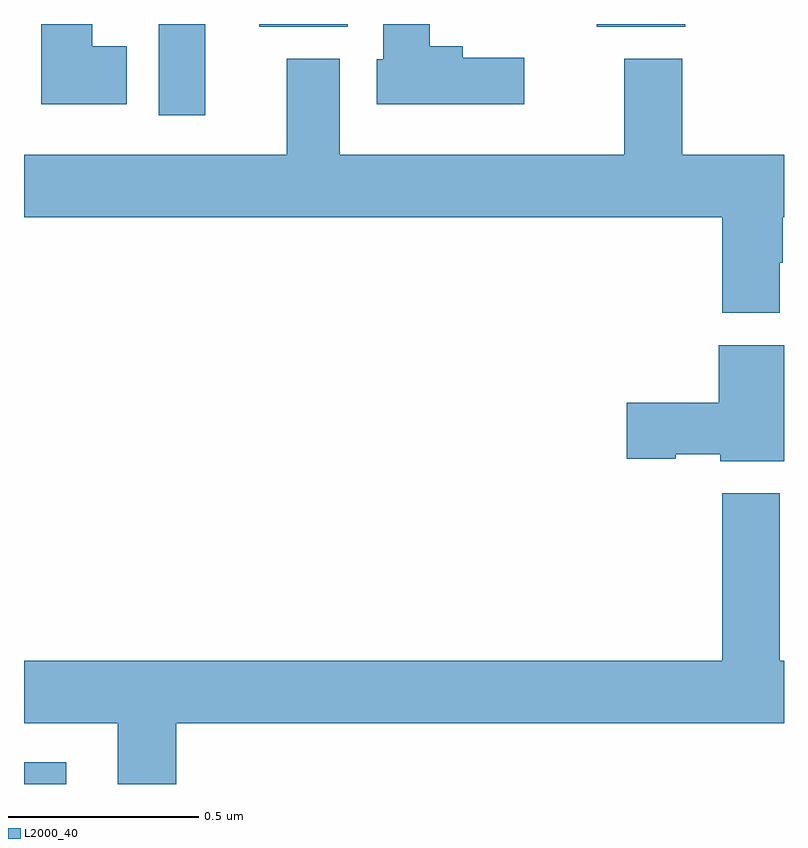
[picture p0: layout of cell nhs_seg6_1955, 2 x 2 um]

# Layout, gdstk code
import gdstk
lib = gdstk.Library(unit=1e-6, precision=1e-09)
def R(c, l, rs):  # rectangles x0, y0, x1, y1
    for r in rs: c.add(gdstk.rectangle(r[:2], r[2:], *l))
def P(c, l, *ps):  # polygons
    for p in ps: c.add(gdstk.Polygon(p, *l))
L2000_40 = (2000, 40)

nhs_seg6_1955 = lib.new_cell('nhs_seg6_1955')
R(nhs_seg6_1955, L2000_40, [(136,956.5,136.111,956.557), (136.355,958.26,136.477,958.5), (136.619,958.493,136.852,958.5), (137.507,958.493,137.74,958.5)])
P(nhs_seg6_1955, L2000_40, [(137.317,958.411),(137.155,958.411),(137.155,958.441),(137.068,958.441),(137.068,958.5),(136.946,958.5),(136.946,958.407),(136.928,958.407),(136.928,958.289),(137.317,958.289)],
  [(136.27,958.441),(136.18,958.441),(136.18,958.5),(136.046,958.5),(136.046,958.289),(136.27,958.289)],
  [(137.989,957.872),(137.997,957.872),(137.997,957.992),(138,957.992),(138,958.156),(137.732,958.156),(137.732,958.408),(137.579,958.408),(137.579,958.156),(136.831,958.156),(136.831,958.408),(136.691,958.408),(136.691,958.156),(136,958.156),(136,957.992),(137.837,957.992),(137.837,957.74),(137.989,957.74)],
  [(138,957.655),(137.828,957.655),(137.828,957.503),(137.586,957.503),(137.586,957.356),(137.715,957.356),(137.715,957.368),(137.832,957.368),(137.832,957.35),(138,957.35)],
  [(136.4,956.66),(138,956.66),(138,956.824),(137.989,956.824),(137.989,957.265),(137.837,957.265),(137.837,956.824),(136,956.824),(136,956.66),(136.247,956.66),(136.247,956.5),(136.4,956.5)])

lib.write_gds('nhs_seg6_1955.gds')
